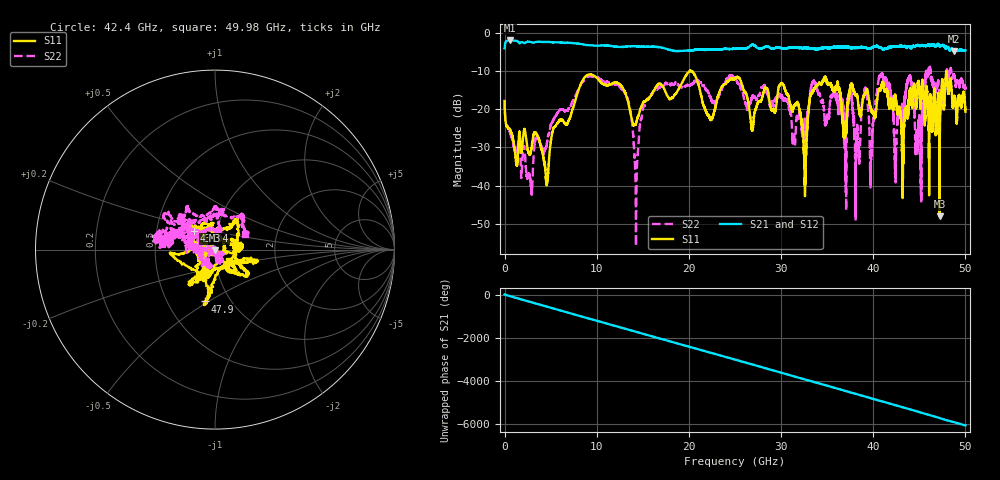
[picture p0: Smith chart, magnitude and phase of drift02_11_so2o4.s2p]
!Created with skrf (http://scikit-rf.org).
# Hz S RI R 50.0
!freq ReS11 ImS11 ReS21 ImS21 ReS12 ImS12 ReS22 ImS22
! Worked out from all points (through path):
!   10001 points, 300 kHz to 50 GHz, reference 50 ohm
!   highest |S21| = -2.00 dB at 610.3 MHz (marker M1); lowest = -4.9 dB at 48.76 GHz (marker M2)
!   group delay of S21, straight-line fit = 337 ps
!   lowest |S11| = -48.1 dB at 47.2 GHz (marker M3), VSWR 1.01, Z = 49.8 - j0.311 ohm
!   |S11| at or under -10 dB: start of sweep to 20.06 GHz; 20.20915 GHz to 20.21248 GHz (3.334 MHz wide, 0.0165 % of centre); 20.24 GHz to end of sweep (the widest 3 of 4)
!   |S22| runs from -55.8 to -8.8 dB; largest |S21 - S12| = 0.033
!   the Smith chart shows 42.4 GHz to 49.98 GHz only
!   S11 on the Smith chart (normalised r, x): 42.4 GHz: 0.88, -0.24; 43.94 GHz: 0.78, +0.17; 47.9 GHz: 0.76, -0.48; 49.98 GHz: 1.16, -0.15
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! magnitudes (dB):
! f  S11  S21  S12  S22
! 300 kHz  -17.9  -4.0  -4.0  -17.5
! 610.3 MHz  -25.5  -2.0  -2.0  -26.2
! 4.565 GHz  -39.8  -2.4  -2.4  -29.3
! 8.335 GHz  -13.0  -2.9  -2.9  -13.3
! 13.02 GHz  -15.3  -3.7  -3.7  -15.7
! 14.28 GHz  -23.7  -3.5  -3.5  -48.4
! 16.67 GHz  -13.4  -3.7  -3.7  -14.5
! 25 GHz  -12.0  -4.1  -4.1  -12.1
! 30.18 GHz  -13.4  -4.0  -4.1  -16.9
! 32.56 GHz  -39.2  -3.9  -4.0  -24.2
! 33.34 GHz  -15.8  -4.0  -4.1  -13.7
! 38.28 GHz  -16.9  -4.0  -3.9  -25.3
! 41.67 GHz  -18.5  -3.8  -3.9  -13.0
! 42.4 GHz  -16.9  -3.6  -3.6  -37.1
! 43.94 GHz  -16.2  -3.6  -3.6  -11.6
! 44.99 GHz  -14.0  -3.4  -3.3  -21.5
! 45.91 GHz  -17.6  -3.1  -3.2  -11.4
! 47.2 GHz  -48.1  -3.5  -3.4  -16.7
! 47.9 GHz  -10.6  -4.2  -4.2  -11.8
! 48.76 GHz  -16.9  -4.9  -4.8  -10.8
! 49.98 GHz  -19.9  -4.6  -4.6  -14.4
! 50 GHz  -20.6  -4.6  -4.6  -14.6
